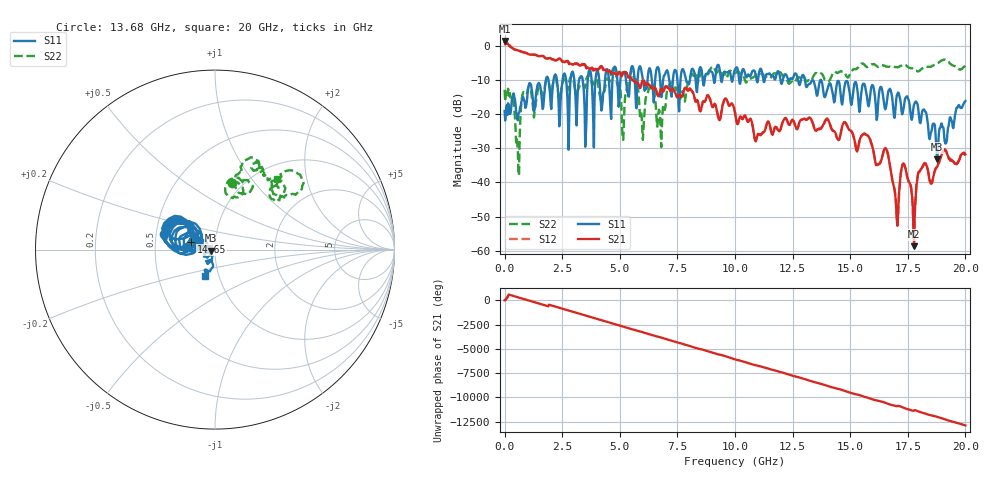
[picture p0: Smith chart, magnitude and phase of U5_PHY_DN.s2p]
!Agilent Technologies,N5230A,MY45001538,A.06.04.05
!Agilent N5230A: A.06.04.05
!Date: Wednesday, April 08, 2026 15:49:36
!Correction: S11(Full 2 Port(1,2)) S21(Full 2 Port(1,2)) S12(Full 2 Port(1,2)) S22(Full 2 Port(1,2))
!S2P File: Measurements: S11, S21, S12, S22:
# Hz S  dB  R 50
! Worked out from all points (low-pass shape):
!   801 points, 300 kHz to 20 GHz, reference 50 ohm
!   highest |S21| = 1.44 dB at 25.3 MHz (marker M1); lowest = -58.7 dB at 17.78 GHz (marker M2)
!   |S21| within 3 dB of the highest: start of sweep to 672.8 MHz; 686.7 MHz to 703 MHz (16.28 MHz wide, 2.34 % of centre)
!   lowest |S11| = -33.3 dB at 18.78 GHz (marker M3), VSWR 1.04, Z = 48 - j0.578 ohm
!   |S11| at or under -10 dB: start of sweep to 1.79 GHz; 13.04 GHz to 13.7 GHz (664.3 MHz wide, 4.97 % of centre); 13.73 GHz to end of sweep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
!   |S22| runs from -38.0 to -4.0 dB; largest |S21 - S12| = 0.34
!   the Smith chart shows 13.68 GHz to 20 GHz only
!   S11 on the Smith chart (normalised r, x): 13.68 GHz: 0.55, +0.10; 14.65 GHz: 0.76, +0.07; 20 GHz: 0.86, -0.26
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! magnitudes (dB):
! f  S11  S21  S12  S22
! 300 kHz  -19.1  1.1  1.6  -12.9
! 25.3 MHz  -21.9  1.4  0.4  -16.2
! 575.3 MHz  -21.8  -1.3  -1.3  -31.0
! 1.025 GHz  -12.3  -2.4  -2.4  -12.1
! 3.35 GHz  -9.0  -5.4  -5.5  -11.2
! 4.75 GHz  -6.3  -8.1  -8.0  -6.1
! 5.15 GHz  -7.8  -7.8  -7.8  -27.5
! 5.5 GHz  -6.4  -9.7  -9.6  -7.5
! 5.95 GHz  -7.9  -11.0  -10.8  -20.7
! 6.35 GHz  -7.7  -11.8  -11.7  -12.7
! 6.675 GHz  -6.4  -14.8  -14.9  -19.8
! 10 GHz  -6.9  -19.5  -19.5  -8.0
! 13.35 GHz  -10.1  -22.1  -22.1  -9.8
! 13.68 GHz  -10.5  -24.3  -24.5  -8.4
! 14.65 GHz  -17.2  -23.6  -23.7  -7.5
! 16.68 GHz  -13.0  -33.0  -33.1  -6.1
! 17 GHz  -15.5  -48.0  -47.3  -6.2
! 17.33 GHz  -18.0  -34.6  -34.5  -5.5
! 17.78 GHz  -17.1  -58.7  -56.5  -6.9
! 18.05 GHz  -22.6  -36.2  -36.5  -7.0
! 18.78 GHz  -33.3  -35.4  -35.3  -5.1
! 20 GHz  -16.2  -31.8  -31.7  -5.6
